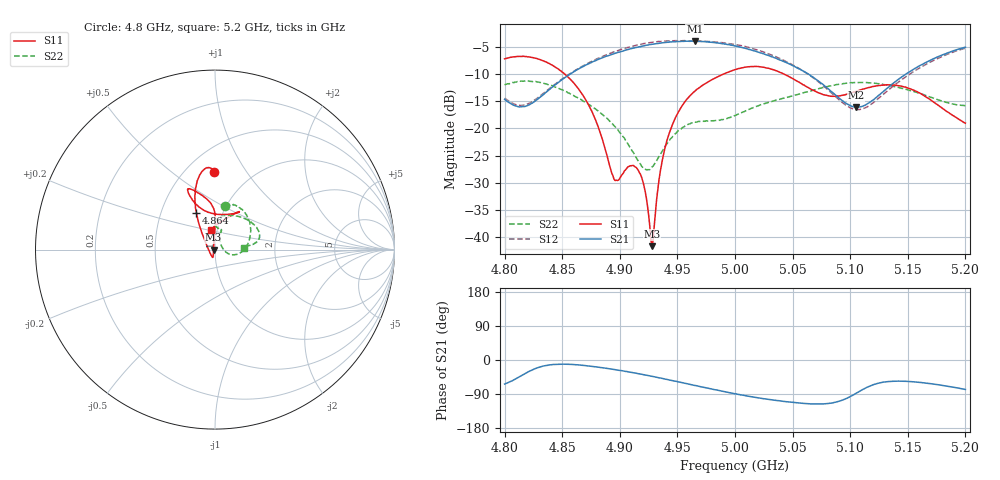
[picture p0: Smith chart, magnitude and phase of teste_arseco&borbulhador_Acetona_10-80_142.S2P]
! Network Analyzer HP8722D
! Hewlett-Packard
! Data name: Linha & Wilkinson
! Saver's name: Rodrigo Anjos
! Comments: Teste da utilização de aquisição
! continua pelo VNA HP8722D
! Time and date: 25/4/2025 16:27
!  Frequency  S11  S21  S12  S22
# HZ  S  MA R 50
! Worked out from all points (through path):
!   401 points, 4.8 GHz to 5.2 GHz, reference 50 ohm
!   highest |S21| = -3.98 dB at 4.965 GHz (marker M1); lowest = -16.1 dB at 5.105 GHz (marker M2)
!   lowest |S11| = -41.7 dB at 4.928 GHz (marker M3), VSWR 1.02, Z = 49.2 - j0.0146 ohm
!   |S11| at or under -10 dB: 4.852 GHz to 4.991 GHz (138.5 MHz wide, 2.81 % of centre); 5.042 GHz to end of sweep
!   |S22| runs from -27.6 to -11.2 dB; largest |S21 - S12| = 1.2
!   S11 on the Smith chart (normalised r, x): 4.8 GHz: 0.68, +0.73; 4.864 GHz: 0.75, +0.33; 5.2 GHz: 0.94, +0.21
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4.8e9  0.4349 90.7  0.1844 -63.4  0.1892 70.1  0.2514 77.1
4.82e9  0.4534 97.0  0.1618 -32.0  0.1677 99.0  0.2742 61.2
4.843e9  0.3713 106.4  0.247 -11.8  0.2505 118.9  0.2418 36.4
4.864e9  0.2315 116.8  0.3502 -12.9  0.354 120.9  0.189 11.8
4.867e9  0.2082 118.6  0.3646 -13.9  0.3693 120.6  0.1819 8.2
4.88e9  0.1114 129.0  0.4235 -18.5  0.4341 118.2  0.1472 -5.6
4.895e9  0.03397 -173.5  0.4869 -25.1  0.5036 113.5  0.1056 -15.9
4.91e9  0.04532 -107.7  0.539 -32.6  0.5644 107.0  0.06347 -13.8
4.917e9  0.03916 -105.4  0.5613 -36.4  0.589 103.4  0.04794 -0.8
4.922e9  0.02635 -109.2  0.5768 -39.3  0.6031 100.6  0.04199 17.1
4.928e9  0.008255 -179.0  0.5925 -43.0  0.6166 96.8  0.04406 41.7
4.934e9  0.0334 101.1  0.6044 -46.9  0.6294 93.1  0.05498 58.2
4.939e9  0.06467 93.9  0.614 -50.1  0.6339 89.8  0.06722 66.1
4.946e9  0.1102 90.2  0.6244 -54.6  0.6375 85.4  0.08441 70.2
4.965e9  0.2186 91.1  0.6326 -67.2  0.635 73.2  0.1141 71.5
5e9  0.3461 109.1  0.5709 -89.2  0.5906 50.7  0.1312 88.4
5.03e9  0.3535 115.1  0.4636 -104.4  0.4798 33.8  0.1741 85.1
5.067e9  0.226 105.4  0.2991 -115.9  0.2961 23.6  0.2224 56.9
5.105e9  0.2189 65.3  0.1564 -88.1  0.1485 55.1  0.2633 25.4
5.134e9  0.2504 57.2  0.2423 -56.7  0.2283 88.8  0.2476 12.2
5.169e9  0.1849 70.2  0.4187 -62.1  0.4042 84.8  0.1945 6.8
5.2e9  0.1115 101.0  0.5559 -77.8  0.5461 70.0  0.1613 3.6
